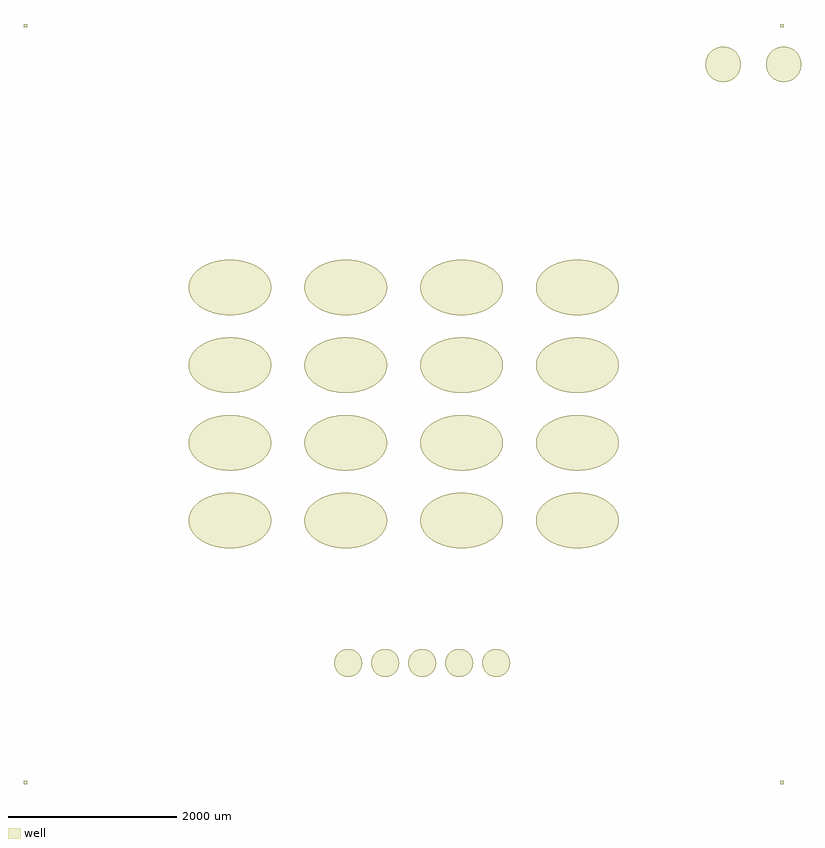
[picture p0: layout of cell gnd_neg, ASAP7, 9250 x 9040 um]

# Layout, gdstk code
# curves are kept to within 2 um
import gdstk
lib = gdstk.Library(unit=1e-6, precision=1e-09)
def R(c, l, rs):  # rectangles x0, y0, x1, y1
    for r in rs: c.add(gdstk.rectangle(r[:2], r[2:], *l))
def P(c, l, *ps):  # polygons
    for p in ps: c.add(gdstk.Polygon(p, *l))
well = (1, 0)

gnd_neg = lib.new_cell('gnd_neg')
R(gnd_neg, well, [(480,480,520,520), (9480,480,9520,520), (480,9480,520,9520), (9480,9480,9520,9520)])
P(gnd_neg, well, [(9520,9040),(9730,9040),(9725.06,9085.284),(9712.181,9124.656),(9694.175,9157.316),(9667.757,9189.224),(9635.589,9215.326),(9598.924,9234.605),(9559.187,9246.311),(9517.925,9249.99),(9476.744,9245.497),(9441.076,9234.605),(9411.427,9219.755),(9384.486,9200.424),(9358.245,9173.923),(9337.106,9143.198),(9323.142,9113.122),(9313.312,9077.147),(9310,9040)],
  [(9520,9040),(9310,9040),(9314.94,8994.716),(9327.819,8955.344),(9345.825,8922.684),(9372.243,8890.776),(9404.411,8864.674),(9441.076,8845.395),(9480.813,8833.689),(9522.075,8830.01),(9563.256,8834.503),(9598.924,8845.395),(9628.573,8860.245),(9655.514,8879.576),(9681.755,8906.077),(9702.894,8936.802),(9716.858,8966.878),(9726.688,9002.853),(9730,9040)],
  [(8800,9040),(9010,9040),(9005.06,9085.284),(8992.181,9124.656),(8974.175,9157.316),(8947.757,9189.224),(8915.589,9215.326),(8878.924,9234.605),(8839.187,9246.311),(8797.925,9249.99),(8756.744,9245.497),(8721.076,9234.605),(8691.427,9219.755),(8664.486,9200.424),(8638.245,9173.923),(8617.106,9143.198),(8603.142,9113.122),(8593.312,9077.147),(8590,9040)],
  [(8800,9040),(8590,9040),(8594.94,8994.716),(8607.819,8955.344),(8625.825,8922.684),(8652.243,8890.776),(8684.411,8864.674),(8721.076,8845.395),(8760.813,8833.689),(8802.075,8830.01),(8843.256,8834.503),(8878.924,8845.395),(8908.573,8860.245),(8935.514,8879.576),(8961.755,8906.077),(8982.894,8936.802),(8996.858,8966.878),(9006.688,9002.853),(9010,9040)],
  [(2933.6,6386),(3425.6,6386),(3423.343,6417.571),(3416.594,6448.852),(3405.414,6479.556),(3389.905,6509.403),(3367.464,6541.613),(3343.278,6568.74),(3283.888,6617.73),(3211.674,6658.237),(3123.86,6690.327),(3033.961,6709.061),(2934.495,6715.999),(2846.566,6710.796),(2755.931,6693.732)],
  [(2933.6,6386),(2755.931,6693.732),(2690.085,6672.744),(2629.585,6645.461),(2575.761,6612.48),(2529.793,6574.527),(2489.502,6528.033),(2463.086,6482.457),(2447.001,6434.764),(2441.6,6386),(2447.001,6337.236),(2463.086,6289.543),(2489.502,6243.967),(2529.793,6197.473),(2575.761,6159.52),(2629.585,6126.539),(2690.085,6099.256),(2755.931,6078.268)],
  [(2933.6,6386),(2755.931,6078.268),(2846.566,6061.204),(2934.495,6056.001),(3033.961,6062.939),(3123.86,6081.673),(3211.674,6113.763),(3283.888,6154.27),(3343.278,6203.26),(3367.464,6230.387),(3389.905,6262.597),(3405.414,6292.444),(3416.594,6323.148),(3423.343,6354.429),(3425.6,6386)],
  [(4311.2,6386),(4803.2,6386),(4800.943,6417.571),(4794.194,6448.852),(4783.014,6479.556),(4767.505,6509.403),(4745.064,6541.613),(4720.878,6568.74),(4661.488,6617.73),(4589.274,6658.237),(4501.46,6690.327),(4411.561,6709.061),(4312.095,6715.999),(4224.166,6710.796),(4133.531,6693.732)],
  [(4311.2,6386),(4133.531,6693.732),(4067.685,6672.744),(4007.185,6645.461),(3953.361,6612.48),(3907.393,6574.527),(3867.102,6528.033),(3840.686,6482.457),(3824.601,6434.764),(3819.2,6386),(3824.601,6337.236),(3840.686,6289.543),(3867.102,6243.967),(3907.393,6197.473),(3953.361,6159.52),(4007.185,6126.539),(4067.685,6099.256),(4133.531,6078.268)],
  [(4311.2,6386),(4133.531,6078.268),(4224.166,6061.204),(4312.095,6056.001),(4411.561,6062.939),(4501.46,6081.673),(4589.274,6113.763),(4661.488,6154.27),(4720.878,6203.26),(4745.064,6230.387),(4767.505,6262.597),(4783.014,6292.444),(4794.194,6323.148),(4800.943,6354.429),(4803.2,6386)],
  [(5688.8,6386),(6180.8,6386),(6178.543,6417.571),(6171.794,6448.852),(6160.614,6479.556),(6145.105,6509.403),(6122.664,6541.613),(6098.478,6568.74),(6039.088,6617.73),(5966.874,6658.237),(5879.06,6690.327),(5789.161,6709.061),(5689.695,6715.999),(5601.766,6710.796),(5511.131,6693.732)],
  [(5688.8,6386),(5511.131,6693.732),(5445.285,6672.744),(5384.785,6645.461),(5330.961,6612.48),(5284.993,6574.527),(5244.702,6528.033),(5218.286,6482.457),(5202.201,6434.764),(5196.8,6386),(5202.201,6337.236),(5218.286,6289.543),(5244.702,6243.967),(5284.993,6197.473),(5330.961,6159.52),(5384.785,6126.539),(5445.285,6099.256),(5511.131,6078.268)],
  [(5688.8,6386),(5511.131,6078.268),(5601.766,6061.204),(5689.695,6056.001),(5789.161,6062.939),(5879.06,6081.673),(5966.874,6113.763),(6039.088,6154.27),(6098.478,6203.26),(6122.664,6230.387),(6145.105,6262.597),(6160.614,6292.444),(6171.794,6323.148),(6178.543,6354.429),(6180.8,6386)],
  [(7066.4,6386),(7558.4,6386),(7556.143,6417.571),(7549.394,6448.852),(7538.214,6479.556),(7522.705,6509.403),(7500.264,6541.613),(7476.078,6568.74),(7416.688,6617.73),(7344.474,6658.237),(7256.66,6690.327),(7166.761,6709.061),(7067.295,6715.999),(6979.366,6710.796),(6888.731,6693.732)],
  [(7066.4,6386),(6888.731,6693.732),(6822.885,6672.744),(6762.385,6645.461),(6708.561,6612.48),(6662.593,6574.527),(6622.302,6528.033),(6595.886,6482.457),(6579.801,6434.764),(6574.4,6386),(6579.801,6337.236),(6595.886,6289.543),(6622.302,6243.967),(6662.593,6197.473),(6708.561,6159.52),(6762.385,6126.539),(6822.885,6099.256),(6888.731,6078.268)],
  [(7066.4,6386),(6888.731,6078.268),(6979.366,6061.204),(7067.295,6056.001),(7166.761,6062.939),(7256.66,6081.673),(7344.474,6113.763),(7416.688,6154.27),(7476.078,6203.26),(7500.264,6230.387),(7522.705,6262.597),(7538.214,6292.444),(7549.394,6323.148),(7556.143,6354.429),(7558.4,6386)],
  [(2933.6,5462),(3425.6,5462),(3423.343,5493.571),(3416.594,5524.852),(3405.414,5555.556),(3389.905,5585.403),(3367.464,5617.613),(3343.278,5644.74),(3283.888,5693.73),(3211.674,5734.237),(3123.86,5766.327),(3033.961,5785.061),(2934.495,5791.999),(2846.566,5786.796),(2755.931,5769.732)],
  [(2933.6,5462),(2755.931,5769.732),(2690.085,5748.744),(2629.585,5721.461),(2575.761,5688.48),(2529.793,5650.527),(2489.502,5604.033),(2463.086,5558.457),(2447.001,5510.764),(2441.6,5462),(2447.001,5413.236),(2463.086,5365.543),(2489.502,5319.967),(2529.793,5273.473),(2575.761,5235.52),(2629.585,5202.539),(2690.085,5175.256),(2755.931,5154.268)],
  [(2933.6,5462),(2755.931,5154.268),(2846.566,5137.204),(2934.495,5132.001),(3033.961,5138.939),(3123.86,5157.673),(3211.674,5189.763),(3283.888,5230.27),(3343.278,5279.26),(3367.464,5306.387),(3389.905,5338.597),(3405.414,5368.444),(3416.594,5399.148),(3423.343,5430.429),(3425.6,5462)],
  [(4311.2,5462),(4803.2,5462),(4800.943,5493.571),(4794.194,5524.852),(4783.014,5555.556),(4767.505,5585.403),(4745.064,5617.613),(4720.878,5644.74),(4661.488,5693.73),(4589.274,5734.237),(4501.46,5766.327),(4411.561,5785.061),(4312.095,5791.999),(4224.166,5786.796),(4133.531,5769.732)],
  [(4311.2,5462),(4133.531,5769.732),(4067.685,5748.744),(4007.185,5721.461),(3953.361,5688.48),(3907.393,5650.527),(3867.102,5604.033),(3840.686,5558.457),(3824.601,5510.764),(3819.2,5462),(3824.601,5413.236),(3840.686,5365.543),(3867.102,5319.967),(3907.393,5273.473),(3953.361,5235.52),(4007.185,5202.539),(4067.685,5175.256),(4133.531,5154.268)],
  [(4311.2,5462),(4133.531,5154.268),(4224.166,5137.204),(4312.095,5132.001),(4411.561,5138.939),(4501.46,5157.673),(4589.274,5189.763),(4661.488,5230.27),(4720.878,5279.26),(4745.064,5306.387),(4767.505,5338.597),(4783.014,5368.444),(4794.194,5399.148),(4800.943,5430.429),(4803.2,5462)],
  [(5688.8,5462),(6180.8,5462),(6178.543,5493.571),(6171.794,5524.852),(6160.614,5555.556),(6145.105,5585.403),(6122.664,5617.613),(6098.478,5644.74),(6039.088,5693.73),(5966.874,5734.237),(5879.06,5766.327),(5789.161,5785.061),(5689.695,5791.999),(5601.766,5786.796),(5511.131,5769.732)],
  [(5688.8,5462),(5511.131,5769.732),(5445.285,5748.744),(5384.785,5721.461),(5330.961,5688.48),(5284.993,5650.527),(5244.702,5604.033),(5218.286,5558.457),(5202.201,5510.764),(5196.8,5462),(5202.201,5413.236),(5218.286,5365.543),(5244.702,5319.967),(5284.993,5273.473),(5330.961,5235.52),(5384.785,5202.539),(5445.285,5175.256),(5511.131,5154.268)],
  [(5688.8,5462),(5511.131,5154.268),(5601.766,5137.204),(5689.695,5132.001),(5789.161,5138.939),(5879.06,5157.673),(5966.874,5189.763),(6039.088,5230.27),(6098.478,5279.26),(6122.664,5306.387),(6145.105,5338.597),(6160.614,5368.444),(6171.794,5399.148),(6178.543,5430.429),(6180.8,5462)],
  [(7066.4,5462),(7558.4,5462),(7556.143,5493.571),(7549.394,5524.852),(7538.214,5555.556),(7522.705,5585.403),(7500.264,5617.613),(7476.078,5644.74),(7416.688,5693.73),(7344.474,5734.237),(7256.66,5766.327),(7166.761,5785.061),(7067.295,5791.999),(6979.366,5786.796),(6888.731,5769.732)],
  [(7066.4,5462),(6888.731,5769.732),(6822.885,5748.744),(6762.385,5721.461),(6708.561,5688.48),(6662.593,5650.527),(6622.302,5604.033),(6595.886,5558.457),(6579.801,5510.764),(6574.4,5462),(6579.801,5413.236),(6595.886,5365.543),(6622.302,5319.967),(6662.593,5273.473),(6708.561,5235.52),(6762.385,5202.539),(6822.885,5175.256),(6888.731,5154.268)],
  [(7066.4,5462),(6888.731,5154.268),(6979.366,5137.204),(7067.295,5132.001),(7166.761,5138.939),(7256.66,5157.673),(7344.474,5189.763),(7416.688,5230.27),(7476.078,5279.26),(7500.264,5306.387),(7522.705,5338.597),(7538.214,5368.444),(7549.394,5399.148),(7556.143,5430.429),(7558.4,5462)],
  [(2933.6,4538),(3425.6,4538),(3423.343,4569.571),(3416.594,4600.852),(3405.414,4631.556),(3389.905,4661.403),(3367.464,4693.613),(3343.278,4720.74),(3283.888,4769.73),(3211.674,4810.237),(3123.86,4842.327),(3033.961,4861.061),(2934.495,4867.999),(2846.566,4862.796),(2755.931,4845.732)],
  [(2933.6,4538),(2755.931,4845.732),(2690.085,4824.744),(2629.585,4797.461),(2575.761,4764.48),(2529.793,4726.527),(2489.502,4680.033),(2463.086,4634.457),(2447.001,4586.764),(2441.6,4538),(2447.001,4489.236),(2463.086,4441.543),(2489.502,4395.967),(2529.793,4349.473),(2575.761,4311.52),(2629.585,4278.539),(2690.085,4251.256),(2755.931,4230.268)],
  [(2933.6,4538),(2755.931,4230.268),(2846.566,4213.204),(2934.495,4208.001),(3033.961,4214.939),(3123.86,4233.673),(3211.674,4265.763),(3283.888,4306.27),(3343.278,4355.26),(3367.464,4382.387),(3389.905,4414.597),(3405.414,4444.444),(3416.594,4475.148),(3423.343,4506.429),(3425.6,4538)],
  [(4311.2,4538),(4803.2,4538),(4800.943,4569.571),(4794.194,4600.852),(4783.014,4631.556),(4767.505,4661.403),(4745.064,4693.613),(4720.878,4720.74),(4661.488,4769.73),(4589.274,4810.237),(4501.46,4842.327),(4411.561,4861.061),(4312.095,4867.999),(4224.166,4862.796),(4133.531,4845.732)],
  [(4311.2,4538),(4133.531,4845.732),(4067.685,4824.744),(4007.185,4797.461),(3953.361,4764.48),(3907.393,4726.527),(3867.102,4680.033),(3840.686,4634.457),(3824.601,4586.764),(3819.2,4538),(3824.601,4489.236),(3840.686,4441.543),(3867.102,4395.967),(3907.393,4349.473),(3953.361,4311.52),(4007.185,4278.539),(4067.685,4251.256),(4133.531,4230.268)],
  [(4311.2,4538),(4133.531,4230.268),(4224.166,4213.204),(4312.095,4208.001),(4411.561,4214.939),(4501.46,4233.673),(4589.274,4265.763),(4661.488,4306.27),(4720.878,4355.26),(4745.064,4382.387),(4767.505,4414.597),(4783.014,4444.444),(4794.194,4475.148),(4800.943,4506.429),(4803.2,4538)],
  [(5688.8,4538),(6180.8,4538),(6178.543,4569.571),(6171.794,4600.852),(6160.614,4631.556),(6145.105,4661.403),(6122.664,4693.613),(6098.478,4720.74),(6039.088,4769.73),(5966.874,4810.237),(5879.06,4842.327),(5789.161,4861.061),(5689.695,4867.999),(5601.766,4862.796),(5511.131,4845.732)],
  [(5688.8,4538),(5511.131,4845.732),(5445.285,4824.744),(5384.785,4797.461),(5330.961,4764.48),(5284.993,4726.527),(5244.702,4680.033),(5218.286,4634.457),(5202.201,4586.764),(5196.8,4538),(5202.201,4489.236),(5218.286,4441.543),(5244.702,4395.967),(5284.993,4349.473),(5330.961,4311.52),(5384.785,4278.539),(5445.285,4251.256),(5511.131,4230.268)],
  [(5688.8,4538),(5511.131,4230.268),(5601.766,4213.204),(5689.695,4208.001),(5789.161,4214.939),(5879.06,4233.673),(5966.874,4265.763),(6039.088,4306.27),(6098.478,4355.26),(6122.664,4382.387),(6145.105,4414.597),(6160.614,4444.444),(6171.794,4475.148),(6178.543,4506.429),(6180.8,4538)],
  [(7066.4,4538),(7558.4,4538),(7556.143,4569.571),(7549.394,4600.852),(7538.214,4631.556),(7522.705,4661.403),(7500.264,4693.613),(7476.078,4720.74),(7416.688,4769.73),(7344.474,4810.237),(7256.66,4842.327),(7166.761,4861.061),(7067.295,4867.999),(6979.366,4862.796),(6888.731,4845.732)],
  [(7066.4,4538),(6888.731,4845.732),(6822.885,4824.744),(6762.385,4797.461),(6708.561,4764.48),(6662.593,4726.527),(6622.302,4680.033),(6595.886,4634.457),(6579.801,4586.764),(6574.4,4538),(6579.801,4489.236),(6595.886,4441.543),(6622.302,4395.967),(6662.593,4349.473),(6708.561,4311.52),(6762.385,4278.539),(6822.885,4251.256),(6888.731,4230.268)],
  [(7066.4,4538),(6888.731,4230.268),(6979.366,4213.204),(7067.295,4208.001),(7166.761,4214.939),(7256.66,4233.673),(7344.474,4265.763),(7416.688,4306.27),(7476.078,4355.26),(7500.264,4382.387),(7522.705,4414.597),(7538.214,4444.444),(7549.394,4475.148),(7556.143,4506.429),(7558.4,4538)],
  [(2933.6,3614),(3425.6,3614),(3423.343,3645.571),(3416.594,3676.852),(3405.414,3707.556),(3389.905,3737.403),(3367.464,3769.613),(3343.278,3796.74),(3283.888,3845.73),(3211.674,3886.237),(3123.86,3918.327),(3033.961,3937.061),(2934.495,3943.999),(2846.566,3938.796),(2755.931,3921.732)],
  [(2933.6,3614),(2755.931,3921.732),(2690.085,3900.744),(2629.585,3873.461),(2575.761,3840.48),(2529.793,3802.527),(2489.502,3756.033),(2463.086,3710.457),(2447.001,3662.764),(2441.6,3614),(2447.001,3565.236),(2463.086,3517.543),(2489.502,3471.967),(2529.793,3425.473),(2575.761,3387.52),(2629.585,3354.539),(2690.085,3327.256),(2755.931,3306.268)],
  [(2933.6,3614),(2755.931,3306.268),(2846.566,3289.204),(2934.495,3284.001),(3033.961,3290.939),(3123.86,3309.673),(3211.674,3341.763),(3283.888,3382.27),(3343.278,3431.26),(3367.464,3458.387),(3389.905,3490.597),(3405.414,3520.444),(3416.594,3551.148),(3423.343,3582.429),(3425.6,3614)],
  [(4311.2,3614),(4803.2,3614),(4800.943,3645.571),(4794.194,3676.852),(4783.014,3707.556),(4767.505,3737.403),(4745.064,3769.613),(4720.878,3796.74),(4661.488,3845.73),(4589.274,3886.237),(4501.46,3918.327),(4411.561,3937.061),(4312.095,3943.999),(4224.166,3938.796),(4133.531,3921.732)],
  [(4311.2,3614),(4133.531,3921.732),(4067.685,3900.744),(4007.185,3873.461),(3953.361,3840.48),(3907.393,3802.527),(3867.102,3756.033),(3840.686,3710.457),(3824.601,3662.764),(3819.2,3614),(3824.601,3565.236),(3840.686,3517.543),(3867.102,3471.967),(3907.393,3425.473),(3953.361,3387.52),(4007.185,3354.539),(4067.685,3327.256),(4133.531,3306.268)],
  [(4311.2,3614),(4133.531,3306.268),(4224.166,3289.204),(4312.095,3284.001),(4411.561,3290.939),(4501.46,3309.673),(4589.274,3341.763),(4661.488,3382.27),(4720.878,3431.26),(4745.064,3458.387),(4767.505,3490.597),(4783.014,3520.444),(4794.194,3551.148),(4800.943,3582.429),(4803.2,3614)],
  [(5688.8,3614),(6180.8,3614),(6178.543,3645.571),(6171.794,3676.852),(6160.614,3707.556),(6145.105,3737.403),(6122.664,3769.613),(6098.478,3796.74),(6039.088,3845.73),(5966.874,3886.237),(5879.06,3918.327),(5789.161,3937.061),(5689.695,3943.999),(5601.766,3938.796),(5511.131,3921.732)],
  [(5688.8,3614),(5511.131,3921.732),(5445.285,3900.744),(5384.785,3873.461),(5330.961,3840.48),(5284.993,3802.527),(5244.702,3756.033),(5218.286,3710.457),(5202.201,3662.764),(5196.8,3614),(5202.201,3565.236),(5218.286,3517.543),(5244.702,3471.967),(5284.993,3425.473),(5330.961,3387.52),(5384.785,3354.539),(5445.285,3327.256),(5511.131,3306.268)],
  [(5688.8,3614),(5511.131,3306.268),(5601.766,3289.204),(5689.695,3284.001),(5789.161,3290.939),(5879.06,3309.673),(5966.874,3341.763),(6039.088,3382.27),(6098.478,3431.26),(6122.664,3458.387),(6145.105,3490.597),(6160.614,3520.444),(6171.794,3551.148),(6178.543,3582.429),(6180.8,3614)],
  [(7066.4,3614),(7558.4,3614),(7556.143,3645.571),(7549.394,3676.852),(7538.214,3707.556),(7522.705,3737.403),(7500.264,3769.613),(7476.078,3796.74),(7416.688,3845.73),(7344.474,3886.237),(7256.66,3918.327),(7166.761,3937.061),(7067.295,3943.999),(6979.366,3938.796),(6888.731,3921.732)],
  [(7066.4,3614),(6888.731,3921.732),(6822.885,3900.744),(6762.385,3873.461),(6708.561,3840.48),(6662.593,3802.527),(6622.302,3756.033),(6595.886,3710.457),(6579.801,3662.764),(6574.4,3614),(6579.801,3565.236),(6595.886,3517.543),(6622.302,3471.967),(6662.593,3425.473),(6708.561,3387.52),(6762.385,3354.539),(6822.885,3327.256),(6888.731,3306.268)],
  [(7066.4,3614),(6888.731,3306.268),(6979.366,3289.204),(7067.295,3284.001),(7166.761,3290.939),(7256.66,3309.673),(7344.474,3341.763),(7416.688,3382.27),(7476.078,3431.26),(7500.264,3458.387),(7522.705,3490.597),(7538.214,3520.444),(7549.394,3551.148),(7556.143,3582.429),(7558.4,3614)],
  [(4340,1920),(4505,1920),(4500.069,1960.036),(4487.266,1994.417),(4464.808,2027.926),(4437.875,2052.837),(4409.454,2069.67),(4381.817,2079.613),(4349.186,2084.744),(4316.187,2083.273),(4284.143,2075.258),(4254.337,2061.021),(4227.964,2041.132),(4206.081,2016.389),(4192.734,1994.417),(4182.962,1970.638),(4177.003,1945.63),(4175,1920)],
  [(4340,1920),(4175,1920),(4179.931,1879.964),(4192.734,1845.583),(4215.192,1812.074),(4242.125,1787.163),(4270.546,1770.33),(4298.183,1760.387),(4330.814,1755.256),(4363.813,1756.727),(4395.857,1764.742),(4425.663,1778.979),(4452.036,1798.868),(4473.919,1823.611),(4487.266,1845.583),(4497.038,1869.362),(4502.997,1894.37),(4505,1920)],
  [(4780,1920),(4945,1920),(4940.069,1960.036),(4927.266,1994.417),(4904.808,2027.926),(4877.875,2052.837),(4849.454,2069.67),(4821.817,2079.613),(4789.186,2084.744),(4756.187,2083.273),(4724.143,2075.258),(4694.337,2061.021),(4667.964,2041.132),(4646.081,2016.389),(4632.734,1994.417),(4622.962,1970.638),(4617.003,1945.63),(4615,1920)],
  [(4780,1920),(4615,1920),(4619.931,1879.964),(4632.734,1845.583),(4655.192,1812.074),(4682.125,1787.163),(4710.546,1770.33),(4738.183,1760.387),(4770.814,1755.256),(4803.813,1756.727),(4835.857,1764.742),(4865.663,1778.979),(4892.036,1798.868),(4913.919,1823.611),(4927.266,1845.583),(4937.038,1869.362),(4942.997,1894.37),(4945,1920)],
  [(5220,1920),(5385,1920),(5380.069,1960.036),(5367.266,1994.417),(5344.808,2027.926),(5317.875,2052.837),(5289.454,2069.67),(5261.817,2079.613),(5229.186,2084.744),(5196.187,2083.273),(5164.143,2075.258),(5134.337,2061.021),(5107.964,2041.132),(5086.081,2016.389),(5072.734,1994.417),(5062.962,1970.638),(5057.003,1945.63),(5055,1920)],
  [(5220,1920),(5055,1920),(5059.931,1879.964),(5072.734,1845.583),(5095.192,1812.074),(5122.125,1787.163),(5150.546,1770.33),(5178.183,1760.387),(5210.814,1755.256),(5243.813,1756.727),(5275.857,1764.742),(5305.663,1778.979),(5332.036,1798.868),(5353.919,1823.611),(5367.266,1845.583),(5377.038,1869.362),(5382.997,1894.37),(5385,1920)],
  [(5660,1920),(5825,1920),(5820.069,1960.036),(5807.266,1994.417),(5784.808,2027.926),(5757.875,2052.837),(5729.454,2069.67),(5701.817,2079.613),(5669.186,2084.744),(5636.187,2083.273),(5604.143,2075.258),(5574.337,2061.021),(5547.964,2041.132),(5526.081,2016.389),(5512.734,1994.417),(5502.962,1970.638),(5497.003,1945.63),(5495,1920)],
  [(5660,1920),(5495,1920),(5499.931,1879.964),(5512.734,1845.583),(5535.192,1812.074),(5562.125,1787.163),(5590.546,1770.33),(5618.183,1760.387),(5650.814,1755.256),(5683.813,1756.727),(5715.857,1764.742),(5745.663,1778.979),(5772.036,1798.868),(5793.919,1823.611),(5807.266,1845.583),(5817.038,1869.362),(5822.997,1894.37),(5825,1920)],
  [(6100,1920),(6265,1920),(6260.069,1960.036),(6247.266,1994.417),(6224.808,2027.926),(6197.875,2052.837),(6169.454,2069.67),(6141.817,2079.613),(6109.186,2084.744),(6076.187,2083.273),(6044.143,2075.258),(6014.337,2061.021),(5987.964,2041.132),(5966.081,2016.389),(5952.734,1994.417),(5942.962,1970.638),(5937.003,1945.63),(5935,1920)],
  [(6100,1920),(5935,1920),(5939.931,1879.964),(5952.734,1845.583),(5975.192,1812.074),(6002.125,1787.163),(6030.546,1770.33),(6058.183,1760.387),(6090.814,1755.256),(6123.813,1756.727),(6155.857,1764.742),(6185.663,1778.979),(6212.036,1798.868),(6233.919,1823.611),(6247.266,1845.583),(6257.038,1869.362),(6262.997,1894.37),(6265,1920)])

lib.write_gds('gnd_neg.gds')
